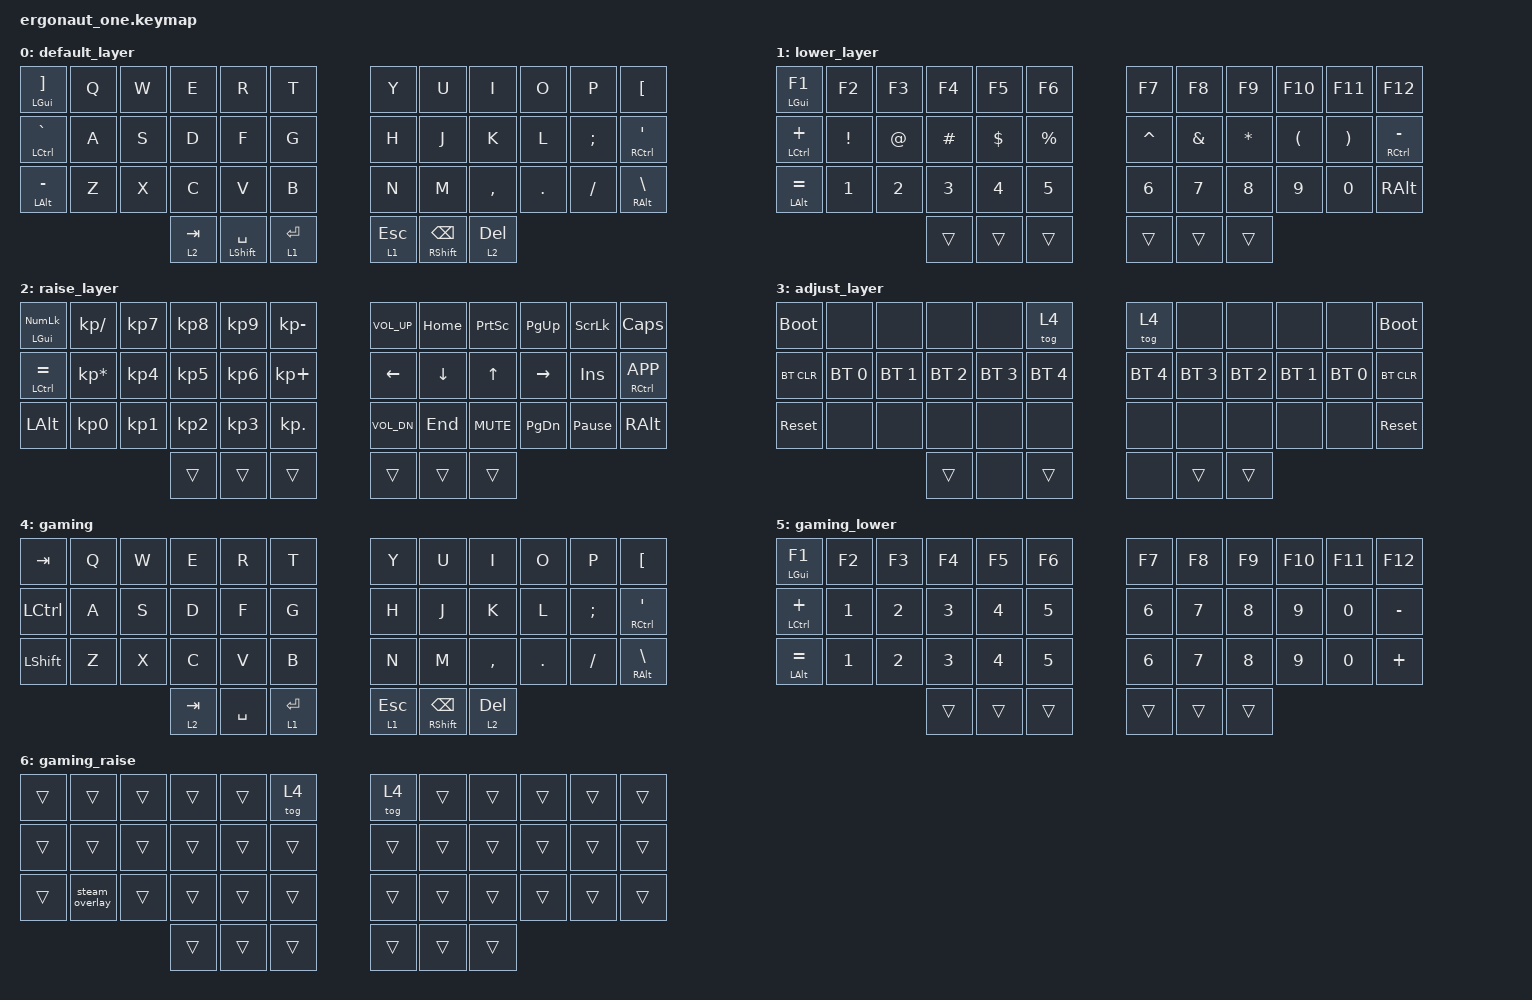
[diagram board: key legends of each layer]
#include <behaviors.dtsi>
#include <dt-bindings/zmk/bt.h>
#include <dt-bindings/zmk/keys.h>

#define DEF 0
#define LWR 1
#define RSE 2
#define ADJ 3

&lt { quick-tap-ms = <200>; };

&mt { quick-tap-ms = <200>; };

/ {
    conditional_layers {
        compatible = "zmk,conditional-layers";

        tri-layer {
            if-layers = <1 2>;
            then-layer = <3>;
        };

        gaming_lower {
            if-layers = <4 1>;
            then-layer = <5>;
        };

        gaming_raise {
            if-layers = <4 2>;
            then-layer = <6>;
        };

        gaming_ajust {
            if-layers = <5 6 4>;
            then-layer = <3>;
        };
    };

    macros {
        steam_overlay: steam_overlay {
            compatible = "zmk,behavior-macro";
            #binding-cells = <0>;
            bindings = <&kp LS(TAB)>;
            label = "STEAM_OVERLAY";
        };
    };

    keymap {
        compatible = "zmk,keymap";

        default_layer {
            bindings = <
&mt LGUI RBKT    &kp Q  &kp W  &kp E      &kp R            &kp T      &kp Y      &kp U           &kp I      &kp O    &kp P     &kp LBKT
&mt LCTRL GRAVE  &kp A  &kp S  &kp D      &kp F            &kp G      &kp H      &kp J           &kp K      &kp L    &kp SEMI  &mt RCTRL SQT
&mt LALT MINUS   &kp Z  &kp X  &kp C      &kp V            &kp B      &kp N      &kp M           &kp COMMA  &kp DOT  &kp FSLH  &mt RALT BSLH
                               &lt 2 TAB  &mt LSHFT SPACE  &lt 1 RET  &lt 1 ESC  &mt RSHFT BSPC  &lt 2 DEL
            >;
        };

        lower_layer {
            bindings = <
&mt LGUI F1     &kp F2    &kp F3  &kp F4    &kp F5    &kp F6     &kp F7     &kp F8    &kp F9    &kp F10   &kp F11   &kp F12
&mt LCTRL PLUS  &kp EXCL  &kp AT  &kp HASH  &kp DLLR  &kp PRCNT  &kp CARET  &kp AMPS  &kp STAR  &kp LPAR  &kp RPAR  &mt RCTRL MINUS
&mt LALT EQUAL  &kp N1    &kp N2  &kp N3    &kp N4    &kp N5     &kp N6     &kp N7    &kp N8    &kp N9    &kp N0    &kp RALT
                                  &trans    &trans    &trans     &trans     &trans    &trans
            >;
        };

        raise_layer {
            bindings = <
&mt LGUI KP_NUM  &kp KP_SLASH     &kp KP_N7  &kp KP_N8  &kp KP_N9  &kp KP_MINUS  &kp C_VOL_UP  &kp HOME        &kp PSCRN   &kp PG_UP  &kp SLCK         &kp CLCK
&mt LCTRL EQUAL  &kp KP_MULTIPLY  &kp KP_N4  &kp KP_N5  &kp KP_N6  &kp KP_PLUS   &kp LEFT      &kp DOWN_ARROW  &kp UP      &kp RIGHT  &kp INS          &mt RCTRL K_APP
&kp LALT         &kp KP_N0        &kp KP_N1  &kp KP_N2  &kp KP_N3  &kp KP_DOT    &kp C_VOL_DN  &kp END         &kp C_MUTE  &kp PG_DN  &kp PAUSE_BREAK  &kp RALT
                                             &trans     &trans     &trans        &trans        &trans          &trans
            >;
        };

        adjust_layer {
            bindings = <
&bootloader  &none         &none         &none         &none         &tog 4        &tog 4        &none         &none         &none         &none         &bootloader
&bt BT_CLR   &bt BT_SEL 0  &bt BT_SEL 1  &bt BT_SEL 2  &bt BT_SEL 3  &bt BT_SEL 4  &bt BT_SEL 4  &bt BT_SEL 3  &bt BT_SEL 2  &bt BT_SEL 1  &bt BT_SEL 0  &bt BT_CLR
&sys_reset   &none         &none         &none         &none         &none         &none         &none         &none         &none         &none         &sys_reset
                                         &trans        &none         &trans        &none         &trans        &trans
            >;
        };

        gaming {
            bindings = <
&kp TAB         &kp Q  &kp W  &kp E      &kp R      &kp T      &kp Y      &kp U           &kp I      &kp O    &kp P     &kp LBKT
&kp LCTRL       &kp A  &kp S  &kp D      &kp F      &kp G      &kp H      &kp J           &kp K      &kp L    &kp SEMI  &mt RCTRL SQT
&kp LEFT_SHIFT  &kp Z  &kp X  &kp C      &kp V      &kp B      &kp N      &kp M           &kp COMMA  &kp DOT  &kp FSLH  &mt RALT BSLH
                              &lt 2 TAB  &kp SPACE  &lt 1 RET  &lt 1 ESC  &mt RSHFT BSPC  &lt 2 DEL
            >;
        };

        gaming_lower {
            bindings = <
&mt LGUI F1     &kp F2  &kp F3  &kp F4  &kp F5  &kp F6  &kp F7  &kp F8  &kp F9  &kp F10  &kp F11  &kp F12
&mt LCTRL PLUS  &kp N1  &kp N2  &kp N3  &kp N4  &kp N5  &kp N6  &kp N7  &kp N8  &kp N9   &kp N0   &kp MINUS
&mt LALT EQUAL  &kp N1  &kp N2  &kp N3  &kp N4  &kp N5  &kp N6  &kp N7  &kp N8  &kp N9   &kp N0   &kp PLUS
                                &trans  &trans  &trans  &trans  &trans  &trans
            >;
        };

        gaming_raise {
            bindings = <
&trans  &trans          &trans  &trans  &trans  &tog 4  &tog 4  &trans  &trans  &trans  &trans  &trans
&trans  &trans          &trans  &trans  &trans  &trans  &trans  &trans  &trans  &trans  &trans  &trans
&trans  &steam_overlay  &trans  &trans  &trans  &trans  &trans  &trans  &trans  &trans  &trans  &trans
                                &trans  &trans  &trans  &trans  &trans  &trans
            >;
        };
    };
};
